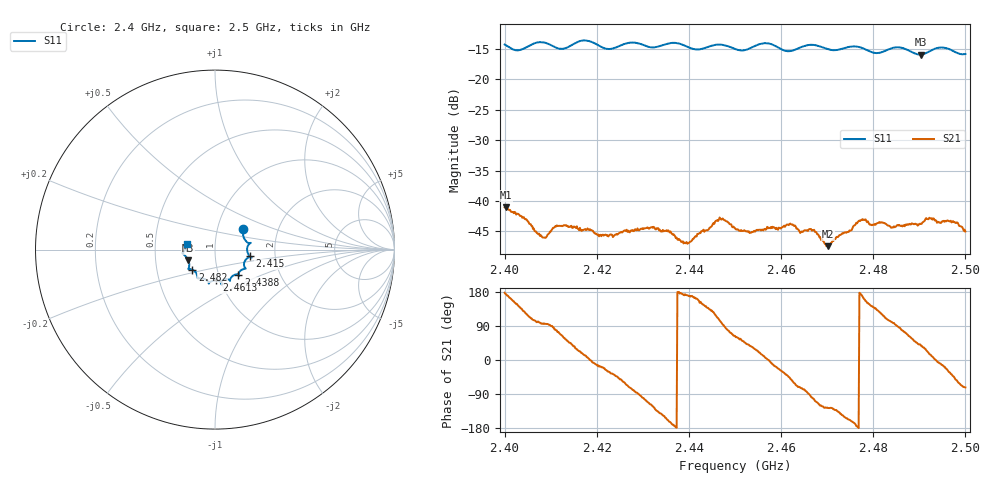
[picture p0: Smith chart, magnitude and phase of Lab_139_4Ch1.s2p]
# Hz S RI R 50
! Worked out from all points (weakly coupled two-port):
!   601 points, 2.4 GHz to 2.5 GHz, reference 50 ohm
!   highest |S21| = -41.03 dB at 2.4003 GHz (marker M1); lowest = -47.4 dB at 2.4702 GHz (marker M2)
!   lowest |S11| = -15.9 dB at 2.4903 GHz (marker M3), VSWR 1.38, Z = 36.8 - j4.45 ohm
!   |S11| at or under -10 dB: start of sweep to end of sweep
!   S12 and S22 are empty: the file has one direction only
!   S11 on the Smith chart (normalised r, x): 2.4 GHz: 1.33, +0.31; 2.415 GHz: 1.47, -0.11; 2.4388 GHz: 1.24, -0.36; 2.4613 GHz: 0.96, -0.34; 2.482 GHz: 0.76, -0.17; 2.5 GHz: 0.72, +0.05
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2.4e9  0.1582 0.1124  -0.00887 0.000399  0 0  0 0
2.400333e9  0.1574 0.108  -0.00882 0.00103  0 0  0 0
2.403e9  0.1622 0.0625  -0.00622 0.00475  0 0  0 0
2.4085e9  0.1983 0.0376  -0.000592 0.00497  0 0  0 0
2.411333e9  0.1808 0.0157  0.00133 0.00617  0 0  0 0
2.415e9  0.1926 -0.0361  0.00499 0.00363  0 0  0 0
2.416667e9  0.2037 -0.0441  0.00539 0.0018  0 0  0 0
2.4225e9  0.1655 -0.0657  0.00442 -0.00258  0 0  0 0
2.433333e9  0.1326 -0.1314  -0.00436 -0.00411  0 0  0 0
2.438833e9  0.1299 -0.141  -0.00444 0.000646  0 0  0 0
2.446333e9  0.0839 -0.1746  -0.00241 0.00642  0 0  0 0
2.45e9  0.0685 -0.1648  0.00267 0.00537  0 0  0 0
2.456833e9  0.0382 -0.195  0.00591 0.000413  0 0  0 0
2.461333e9  0.00781 -0.1709  0.00488 -0.00416  0 0  0 0
2.466667e9  -0.0344 -0.1899  -0.000858 -0.00564  0 0  0 0
2.470167e9  -0.0447 -0.1721  -0.00254 -0.00341  0 0  0 0
2.477167e9  -0.097 -0.1564  -0.00684 0.000531  0 0  0 0
2.482e9  -0.1261 -0.1116  -0.0033 0.00578  0 0  0 0
2.483333e9  -0.1396 -0.1087  -0.0016 0.00607  0 0  0 0
2.490333e9  -0.1491 -0.0589  0.0051 0.00398  0 0  0 0
2.496333e9  -0.1779 -0.0155  0.00592 -0.00348  0 0  0 0
2.5e9  -0.1587 0.0323  0.0017 -0.00536  0 0  0 0
